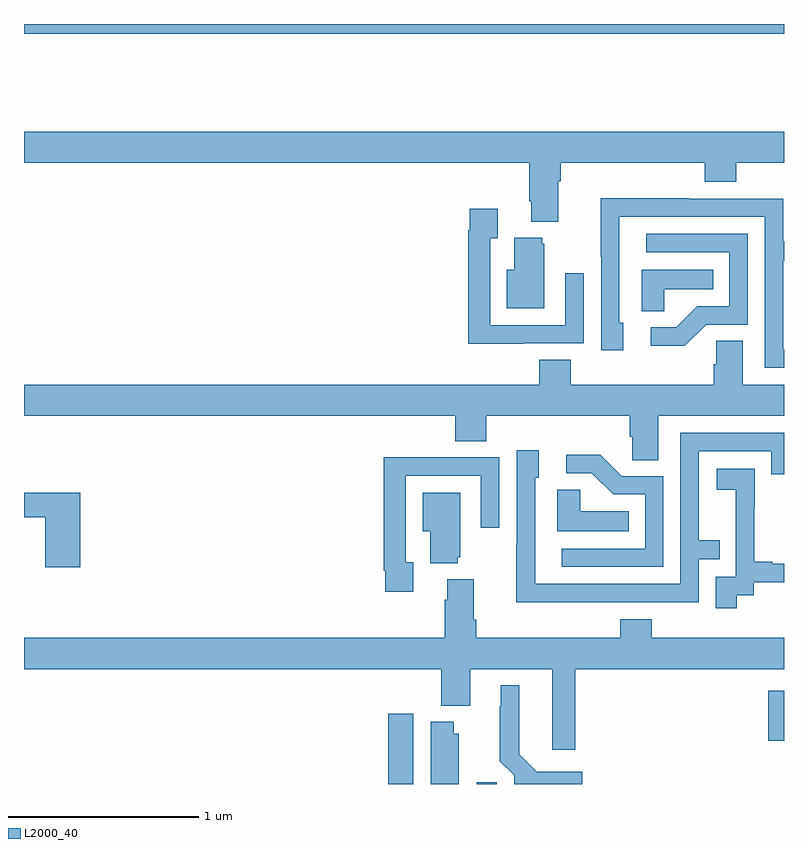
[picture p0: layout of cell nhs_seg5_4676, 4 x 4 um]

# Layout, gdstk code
import gdstk
lib = gdstk.Library(unit=1e-6, precision=1e-09)
def R(c, l, rs):  # rectangles x0, y0, x1, y1
    for r in rs: c.add(gdstk.rectangle(r[:2], r[2:], *l))
def P(c, l, *ps):  # polygons
    for p in ps: c.add(gdstk.Polygon(p, *l))
L2000_40 = (2000, 40)

nhs_seg5_4676 = lib.new_cell('nhs_seg5_4676')
R(nhs_seg5_4676, L2000_40, [(386.918,878.799,387.049,879.169), (387.383,878.799,387.487,878.809), (388.916,879.026,389,879.289), (385,882.748,389,882.799)])
P(nhs_seg5_4676, L2000_40, [(387.811,881.972),(387.824,881.972),(387.824,882.068),(388.583,882.068),(388.583,881.969),(388.748,881.969),(388.748,882.068),(389,882.068),(389,882.232),(385,882.232),(385,882.068),(387.659,882.068),(387.659,881.866),(387.671,881.866),(387.671,881.759),(387.811,881.759)],
  [(389,881.085),(388.995,881.085),(388.995,881.554),(389,881.554),(389,881.655),(388.995,881.655),(388.995,881.88),(388.499,881.88),(388.499,881.882),(388.036,881.882),(388.036,881.575),(388.038,881.575),(388.038,881.082),(388.153,881.082),(388.153,881.226),(388.134,881.226),(388.134,881.784),(388.899,881.784),(388.899,880.989),(389,880.989)],
  [(387.629,881.118),(387.945,881.118),(387.945,881.488),(387.849,881.488),(387.849,881.214),(387.453,881.214),(387.453,881.671),(387.493,881.671),(387.493,881.827),(387.345,881.827),(387.345,881.714),(387.337,881.714),(387.337,881.117),(387.629,881.117)],
  [(388.59,881.217),(388.809,881.217),(388.809,881.694),(388.275,881.694),(388.275,881.598),(388.713,881.598),(388.713,881.313),(388.544,881.313),(388.433,881.202),(388.299,881.202),(388.299,881.105),(388.477,881.105)],
  [(387.739,881.643),(387.728,881.643),(387.728,881.674),(387.581,881.674),(387.581,881.506),(387.542,881.506),(387.542,881.303),(387.739,881.303)],
  [(388.371,881.402),(388.628,881.402),(388.628,881.506),(388.25,881.506),(388.25,881.287),(388.371,881.287)],
  [(388.339,880.736),(389,880.736),(389,880.9),(388.783,880.9),(388.783,881.132),(388.644,881.132),(388.644,881.009),(388.631,881.009),(388.631,880.9),(387.878,880.9),(387.878,881.033),(387.713,881.033),(387.713,880.9),(385,880.9),(385,880.736),(387.269,880.736),(387.269,880.603),(387.434,880.603),(387.434,880.736),(388.187,880.736),(388.187,880.627),(388.2,880.627),(388.2,880.504),(388.339,880.504)],
  [(388.055,879.756),(388.551,879.756),(388.551,879.981),(388.661,879.981),(388.661,880.082),(388.551,880.082),(388.551,880.551),(388.932,880.551),(388.932,880.428),(389,880.428),(389,880.647),(388.455,880.647),(388.455,879.852),(387.69,879.852),(387.69,880.41),(387.709,880.41),(387.709,880.555),(387.594,880.555),(387.594,880.061),(387.592,880.061),(387.592,879.755),(388.055,879.755)],
  [(388.365,880.419),(388.146,880.419),(388.033,880.532),(387.855,880.532),(387.855,880.434),(387.989,880.434),(388.1,880.323),(388.269,880.323),(388.269,880.038),(387.831,880.038),(387.831,879.942),(388.365,879.942)],
  [(387.049,879.966),(387.009,879.966),(387.009,880.422),(387.405,880.422),(387.405,880.149),(387.501,880.149),(387.501,880.518),(387.185,880.518),(387.185,880.52),(386.893,880.52),(386.893,879.922),(386.901,879.922),(386.901,879.81),(387.049,879.81)],
  [(388.75,879.793),(388.842,879.793),(388.842,879.861),(389,879.861),(389,879.957),(388.939,879.957),(388.939,879.97),(388.844,879.97),(388.844,880.253),(388.845,880.253),(388.845,880.459),(388.647,880.459),(388.647,880.349),(388.745,880.349),(388.745,880.121),(388.746,880.121),(388.746,879.891),(388.641,879.891),(388.641,879.723),(388.75,879.723)],
  [(388.184,880.234),(387.927,880.234),(387.927,880.349),(387.806,880.349),(387.806,880.13),(388.184,880.13)],
  [(387.284,879.993),(387.295,879.993),(387.295,880.333),(387.098,880.333),(387.098,880.13),(387.137,880.13),(387.137,879.962),(387.284,879.962)],
  [(385.295,880.333),(385,880.333),(385,880.204),(385.112,880.204),(385.112,879.939),(385.295,879.939)],
  [(387.902,879.404),(389,879.404),(389,879.568),(388.304,879.568),(388.304,879.667),(388.139,879.667),(388.139,879.568),(387.38,879.568),(387.38,879.664),(387.367,879.664),(387.367,879.877),(387.227,879.877),(387.227,879.77),(387.215,879.77),(387.215,879.568),(385,879.568),(385,879.404),(387.197,879.404),(387.197,879.212),(387.349,879.212),(387.349,879.404),(387.779,879.404),(387.779,878.979),(387.902,878.979)],
  [(387.937,878.863),(387.699,878.863),(387.607,878.956),(387.607,879.319),(387.509,879.319),(387.509,879.209),(387.505,879.209),(387.505,878.918),(387.579,878.844),(387.579,878.799),(387.937,878.799)],
  [(387.289,879.063),(387.262,879.063),(387.262,879.127),(387.14,879.127),(387.14,878.799),(387.289,878.799)])

lib.write_gds('nhs_seg5_4676.gds')
